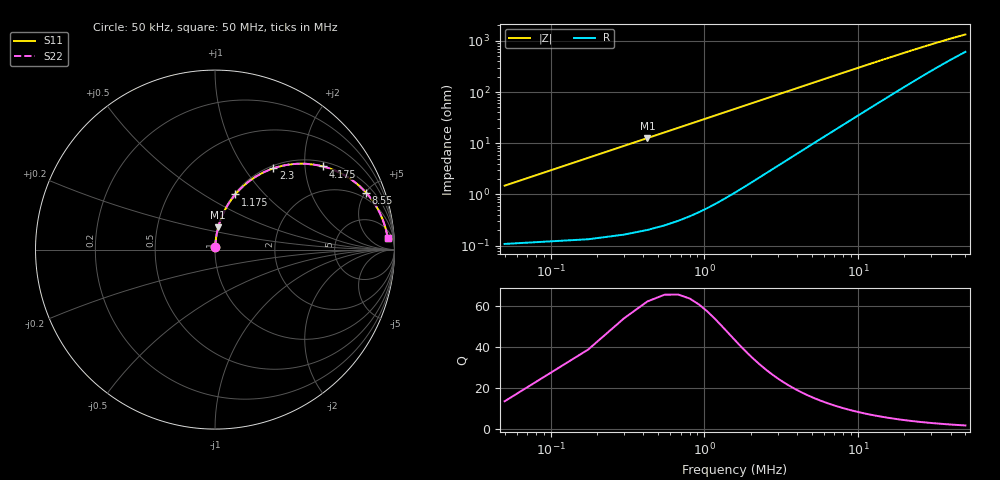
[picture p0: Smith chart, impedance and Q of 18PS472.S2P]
! Coilcraft 1812PS-472 Power Chip Inductor
! 1 October 2002
# MHZ S MA R 50
!Freq  MagS11  AngS11  MagS21  AngS21  MagS12  AngS12  MagS22  AngS22
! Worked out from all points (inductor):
!   401 points, 50 kHz to 50 MHz, reference 50 ohm
!   read as one part in series: L = 4.71 uH near 300 kHz
!   highest Q = 60.6 at 425 kHz (marker M1), where L = 4.71 uH
!   S11 on the Smith chart (normalised r, x): 50 kHz: 1.00, +0.03; 1.175 MHz: 1.01, +0.70; 2.3 MHz: 1.04, +1.37; 4.175 MHz: 1.13, +2.48; 8.55 MHz: 1.52, +5.05; 50 MHz: 13, +24
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0.05  0.01479 85.0  0.9988 -0.8  0.9988 -0.8  0.01479 85.0
0.175  0.05157 85.6  0.9973 -3.0  0.9973 -3.0  0.05157 85.6
0.3  0.08817 83.9  0.9945 -5.1  0.9945 -5.1  0.08817 83.9
0.425  0.1244 81.9  0.9902 -7.1  0.9902 -7.1  0.1244 81.9
0.55  0.1602 79.9  0.9846 -9.2  0.9846 -9.2  0.1602 79.9
0.675  0.1954 77.9  0.9777 -11.3  0.9777 -11.3  0.1954 77.9
0.925  0.2634 73.8  0.9604 -15.3  0.9604 -15.3  0.2634 73.8
1.175  0.3274 69.8  0.9388 -19.1  0.9388 -19.1  0.3274 69.8
1.675  0.4416 62.4  0.8866 -26.2  0.8866 -26.2  0.4416 62.4
2.3  0.5569 54.4  0.8131 -33.8  0.8131 -33.8  0.5569 54.4
3.05  0.6593 46.5  0.7254 -41.2  0.7254 -41.2  0.6593 46.5
4.175  0.7596 37.6  0.6105 -49.3  0.6105 -49.3  0.7596 37.6
5.05  0.8092 32.5  0.5379 -53.9  0.5379 -53.9  0.8092 32.5
6.05  0.8477 28.0  0.4706 -57.7  0.4706 -57.7  0.8477 28.0
8.425  0.898 20.9  0.3587 -63.3  0.3587 -63.3  0.898 20.9
8.55  0.8997 20.6  0.3542 -63.5  0.3542 -63.5  0.8997 20.6
12.3  0.9314 14.7  0.256 -67.2  0.256 -67.2  0.9314 14.7
16.8  0.9466 10.9  0.1919 -68.5  0.1919 -68.5  0.9466 10.9
25.05  0.9572 7.3  0.1325 -67.5  0.1325 -67.5  0.9572 7.3
33.425  0.9614 5.5  0.1021 -65.0  0.1021 -65.0  0.9614 5.5
41.675  0.9635 4.4  0.08434 -62.1  0.08434 -62.1  0.9635 4.4
50  0.9647 3.7  0.07261 -59.1  0.07261 -59.1  0.9647 3.7
